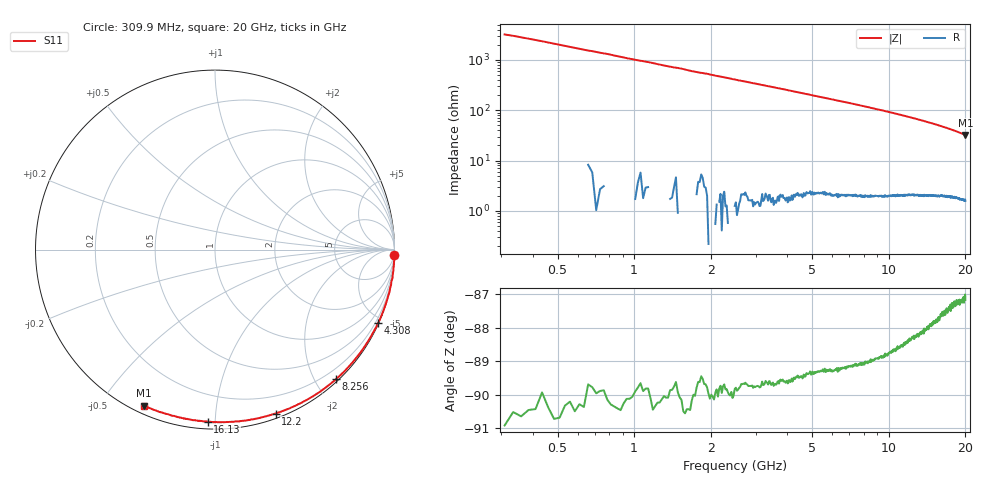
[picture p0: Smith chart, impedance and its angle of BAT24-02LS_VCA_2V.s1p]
! Infineon Technologies  Discrete & RF Semiconductors
! BAT24-02LS
! VCA = 2 V
! One-Port S-Parameters
# Hz  S  MA  R  50
!f  S11
!Hz  Mag  Ang
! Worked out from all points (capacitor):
!   789 points, 309.9 MHz to 20 GHz, reference 50 ohm
!   read as one part to ground: C = 156 fF near 384.8 MHz
!   lowest |Z| = 32.1 ohm at 20 GHz (marker M1)
!   S11 on the Smith chart (normalised r, x): 309.9 MHz: -1, -64; 4.308 GHz: 0.04, -4.64; 8.256 GHz: 0.04, -2.31; 12.2 GHz: 0.04, -1.43; 16.13 GHz: 0.04, -0.96; 20 GHz: 0.03, -0.64
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3.0985e8  1 -1.8
4.098e8  1 -2.3
1.584212e9  1.002 -8.9
2.783612e9  0.9986 -15.7
3.533238e9  0.9984 -19.9
4.30785e9  0.9963 -24.3
5.232388e9  0.9943 -29.5
6.4068e9  0.9926 -36.2
7.256375e9  0.9899 -41.0
7.70615e9  0.9888 -43.7
8.255875e9  0.9877 -46.9
9.30535e9  0.9843 -52.9
1.015492e10  0.9814 -57.8
1.130435e10  0.9769 -64.5
1.22039e10  0.9738 -69.7
1.262869e10  0.9714 -72.2
1.315342e10  0.9705 -75.2
1.38031e10  0.9678 -79.0
1.437781e10  0.9653 -82.3
1.507746e10  0.9633 -86.4
1.550225e10  0.9615 -88.8
1.612694e10  0.9595 -92.4
1.702649e10  0.9583 -97.5
1.755122e10  0.9561 -100.5
1.825088e10  0.9554 -104.6
1.905048e10  0.956 -109.2
1.967516e10  0.9541 -112.7
2e10  0.9561 -114.6
